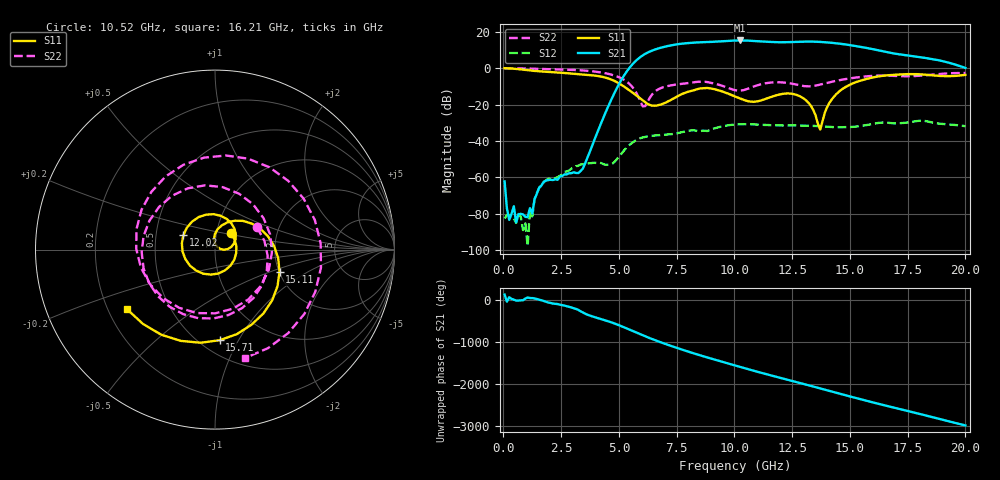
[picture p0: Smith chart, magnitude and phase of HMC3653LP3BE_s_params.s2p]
!Agilent Technologies,E8361A,US43140893,A.06.04.32
!Agilent HMC3653LP3BE: A.06.04.32
!Date: Wednesday, November 18, 2012 13:50:33
!Correction: S11(Full 2 Port(1,2)) S21(Full 2 Port(1,2)) S12(Full 2 Port(1,2)) S22(Full 2 Port(1,2))
!S2P File: Measurements: S11, S21, S12, S22:
# GHz S  dB  R 50
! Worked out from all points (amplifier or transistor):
!   201 points, 50 MHz to 20 GHz, reference 50 ohm
!   highest |S21| = 15.3 dB at 10.22 GHz (marker M1)
!   |S21| within 3 dB of that: 7.136 GHz to 15.22 GHz (8.085 GHz wide, 72.3 % of centre)
!   unconditionally stable (mu >= 1): start of sweep to end of sweep
!   at 3.342 GHz: K = 18107.79, MAG = -47.4 dB, |S12| = -52.9 dB
!   at 10.03 GHz: K = 2.91, MAG = 15.6 dB, |S12| = -31.0 dB
!   at 20 GHz: K = 4.59, MAG = 6.4 dB, |S12| = -31.9 dB
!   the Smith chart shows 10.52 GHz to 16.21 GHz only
!   S11 on the Smith chart (normalised r, x): 10.52 GHz: 1.18, +0.22; 12.02 GHz: 0.69, +0.11; 15.11 GHz: 2.01, -0.58; 15.71 GHz: 0.62, -0.84; 16.21 GHz: 0.28, -0.28
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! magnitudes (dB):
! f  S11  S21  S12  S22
! 50 MHz  0.0  -62.2  -82.6  0.0
! 149.8 MHz  0.0  -77.0  -80.6  0.0
! 249.5 MHz  -0.1  -83.3  -80.9  0.0
! 1.247 GHz  -1.4  -79.9  -81.5  -0.3
! 1.746 GHz  -1.9  -62.4  -62.7  -0.4
! 3.442 GHz  -3.4  -55.1  -52.8  -1.2
! 5.237 GHz  -10.2  -3.7  -44.9  -6.5
! 6.035 GHz  -17.8  7.1  -38.0  -21.0
! 6.733 GHz  -20.2  11.0  -36.8  -11.4
! 8.529 GHz  -11.1  14.3  -34.6  -7.4
! 10.03 GHz  -15.5  15.2  -31.0  -12.1
! 10.22 GHz  -16.5  15.3  -30.8  -12.3
! 10.52 GHz  -17.9  15.2  -30.8  -11.5
! 12.02 GHz  -14.3  14.3  -31.5  -7.8
! 13.42 GHz  -23.0  14.6  -31.7  -9.7
! 13.72 GHz  -33.7  14.5  -31.9  -9.0
! 14.21 GHz  -17.2  14.0  -32.3  -7.4
! 15.11 GHz  -8.4  12.5  -32.2  -5.4
! 15.71 GHz  -5.9  11.2  -31.3  -4.5
! 16.21 GHz  -4.6  9.9  -30.1  -4.1
! 16.71 GHz  -3.8  8.5  -30.0  -4.2
! 20 GHz  -3.7  0.2  -31.9  -2.6
